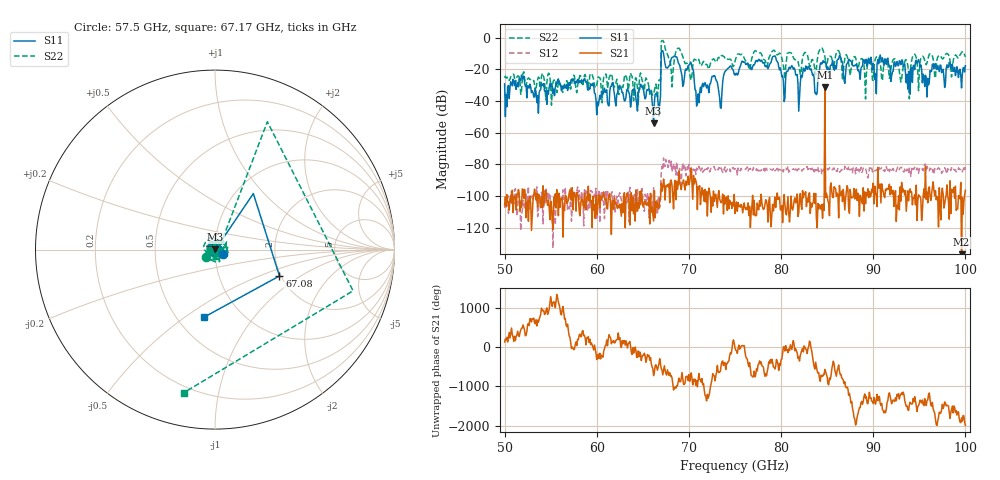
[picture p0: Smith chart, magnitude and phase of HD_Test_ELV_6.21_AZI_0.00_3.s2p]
! 11/25/2026 9:11:34 AM
! C:\ANRITSUVNA\TEMP\TEMP.S2P
! CHANNEL.1
! TR.MEASUREMENT
! RAW.DATA
# HZ S RI R 50.0
! FREQ.HZ  S11RE  S11IM  S21RE  S21IM  S12RE  S12IM  S22RE  S22IM
!; PortSelection: Port_12
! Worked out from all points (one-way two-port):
!   601 points, 50 GHz to 100 GHz, reference 50 ohm
!   highest |S21| = -31.46 dB at 84.75 GHz (marker M1); lowest = -140.0 dB at 99.58 GHz (marker M2)
!   lowest |S11| = -54.1 dB at 66.17 GHz (marker M3), VSWR 1.00, Z = 50.1 + j0.156 ohm
!   |S11| at or under -10 dB: start of sweep to 67 GHz; 67.24 GHz to end of sweep
!   |S22| runs from -42.7 to -1.8 dB; largest |S21 - S12| = 0.027
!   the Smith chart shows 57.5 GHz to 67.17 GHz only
!   S11 on the Smith chart (normalised r, x): 57.5 GHz: 1.09, -0.05; 67.08 GHz: 1.97, -0.68; 67.17 GHz: 0.67, -0.59
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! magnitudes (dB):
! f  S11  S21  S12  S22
! 50 GHz  -29.2  -105.7  -107.5  -25.3
! 57.5 GHz  -26.2  -97.7  -98.4  -23.7
! 58.42 GHz  -27.2  -102.1  -99.2  -29.0
! 60.17 GHz  -43.0  -99.5  -99.5  -24.8
! 61.67 GHz  -28.7  -103.1  -97.4  -24.5
! 66.17 GHz  -54.1  -115.9  -94.9  -35.3
! 66.67 GHz  -41.9  -108.3  -100.5  -32.1
! 67.08 GHz  -8.2  -97.0  -81.2  -1.9
! 67.17 GHz  -8.3  -94.4  -83.5  -1.8
! 70.17 GHz  -15.5  -87.0  -84.4  -25.7
! 70.92 GHz  -40.8  -108.6  -82.8  -13.3
! 75 GHz  -23.7  -111.1  -82.8  -15.0
! 79.25 GHz  -11.8  -105.8  -82.6  -7.9
! 80.25 GHz  -27.5  -104.9  -84.9  -17.7
! 81.08 GHz  -18.6  -100.1  -83.2  -9.6
! 81.83 GHz  -29.5  -113.0  -83.1  -15.0
! 83.42 GHz  -23.7  -105.0  -81.8  -13.8
! 83.83 GHz  -36.0  -114.0  -83.3  -19.5
! 84.75 GHz  -15.2  -31.5  -82.9  -11.9
! 91.67 GHz  -16.6  -95.9  -82.3  -20.5
! 99.58 GHz  -31.8  -140.0  -85.1  -9.4
! 100 GHz  -17.7  -96.4  -81.6  -12.2
